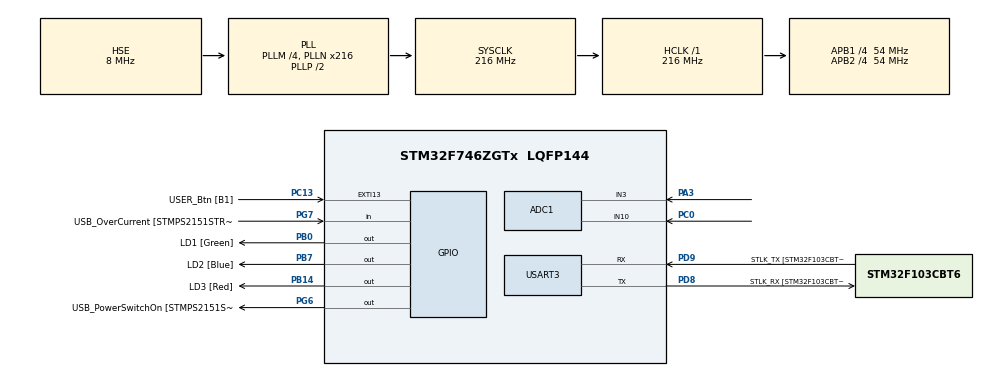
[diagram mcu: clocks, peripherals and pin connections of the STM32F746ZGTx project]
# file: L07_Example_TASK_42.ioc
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ADC1.Channel-0\#ChannelRegularConversion=ADC_CHANNEL_3
ADC1.Channel-1\#ChannelRegularConversion=ADC_CHANNEL_10
ADC1.DiscontinuousConvMode=DISABLE
ADC1.NbrOfConversion=2
ADC1.NbrOfConversionFlag=1
ADC1.Rank-0\#ChannelRegularConversion=1
ADC1.Rank-1\#ChannelRegularConversion=2
ADC1.SamplingTime-0\#ChannelRegularConversion=ADC_SAMPLETIME_480CYCLES
ADC1.SamplingTime-1\#ChannelRegularConversion=ADC_SAMPLETIME_480CYCLES
ADC1.master=1
Mcu.Family=STM32F7
Mcu.Name=STM32F746ZGTx
Mcu.Package=LQFP144
NVIC.ADC_IRQn=true\:0\:0\:false\:false\:true\:true\:true\:true
NVIC.PriorityGroup=NVIC_PRIORITYGROUP_4
PA1.GPIO_Label=RMII_REF_CLK [LAN8742A-CZ-TR_REFCLK0]
PA1.Signal=ETH_REF_CLK
PA10.GPIO_Label=USB_ID
PA10.Signal=USB_OTG_FS_ID
PA11.GPIO_Label=USB_DM
PA11.Signal=USB_OTG_FS_DM
PA12.GPIO_Label=USB_DP
PA12.Signal=USB_OTG_FS_DP
PA13.GPIO_Label=TMS
PA13.Mode=Serial_Wire
PA13.Signal=SYS_JTMS-SWDIO
PA14.GPIO_Label=TCK
PA14.Mode=Serial_Wire
PA14.Signal=SYS_JTCK-SWCLK
PA2.GPIO_Label=RMII_MDIO [LAN8742A-CZ-TR_MDIO]
PA2.Signal=ETH_MDIO
PA3.Signal=ADCx_IN3
PA7.GPIO_Label=RMII_CRS_DV [LAN8742A-CZ-TR_CRS_DV]
PA7.Signal=ETH_CRS_DV
PA8.GPIO_Label=USB_SOF [TP1]
PA8.Signal=USB_OTG_FS_SOF
PA9.GPIO_Label=USB_VBUS
PA9.Signal=USB_OTG_FS_VBUS
PB0.GPIO_Label=LD1 [Green]
PB0.Signal=GPIO_Output
PB13.GPIO_Label=RMII_TXD1 [LAN8742A-CZ-TR_TXD1]
PB13.Signal=ETH_TXD1
PB14.GPIO_Label=LD3 [Red]
PB14.Signal=GPIO_Output
PB3.GPIO_Label=SW0
PB3.Signal=SYS_JTDO-SWO
PB7.GPIO_Label=LD2 [Blue]
PB7.Signal=GPIO_Output
PC0.Signal=ADCx_IN10
PC1.GPIO_Label=RMII_MDC [LAN8742A-CZ-TR_MDC]
PC1.Signal=ETH_MDC
PC13.GPIO_Label=USER_Btn [B1]
PC13.Signal=GPXTI13
PC14/OSC32_IN.Mode=LSE-External-Oscillator
PC14/OSC32_IN.Signal=RCC_OSC32_IN
PC15/OSC32_OUT.Mode=LSE-External-Oscillator
PC15/OSC32_OUT.Signal=RCC_OSC32_OUT
PC4.GPIO_Label=RMII_RXD0 [LAN8742A-CZ-TR_RXD0]
PC4.Signal=ETH_RXD0
PC5.GPIO_Label=RMII_RXD1 [LAN8742A-CZ-TR_RXD1]
PC5.Signal=ETH_RXD1
PD8.GPIO_Label=STLK_RX [STM32F103CBT6_PA3]
PD8.GPIO_PuPd=GPIO_PULLUP
PD8.Mode=Asynchronous
PD8.Signal=USART3_TX
PD9.GPIO_Label=STLK_TX [STM32F103CBT6_PA2]
PD9.GPIO_PuPd=GPIO_PULLUP
PD9.Mode=Asynchronous
PD9.Signal=USART3_RX
PG11.GPIO_Label=RMII_TX_EN [LAN8742A-CZ-TR_TXEN]
PG11.Signal=ETH_TX_EN
PG13.GPIO_Label=RMII_TXD0 [LAN8742A-CZ-TR_TXD0]
PG13.Signal=ETH_TXD0
PG6.GPIO_Label=USB_PowerSwitchOn [STMPS2151STR_EN]
PG6.Signal=GPIO_Output
PG7.GPIO_Label=USB_OverCurrent [STMPS2151STR_FAULT]
PG7.Signal=GPIO_Input
PH0/OSC_IN.GPIO_Label=MCO [STM32F103CBT6_PA8]
PH0/OSC_IN.Mode=HSE-External-Clock-Source
PH0/OSC_IN.Signal=RCC_OSC_IN
PH1/OSC_OUT.Mode=HSE-External-Clock-Source
PH1/OSC_OUT.Signal=RCC_OSC_OUT
ProjectManager.HeapSize=0x200
ProjectManager.StackSize=0x400
ProjectManager.TargetToolchain=STM32CubeIDE
RCC.48MHZClocksFreq_Value=24000000
RCC.AHBFreq_Value=216000000
RCC.APB1CLKDivider=RCC_HCLK_DIV4
RCC.APB1Freq_Value=54000000
RCC.APB1TimFreq_Value=108000000
RCC.APB2CLKDivider=RCC_HCLK_DIV4
RCC.APB2Freq_Value=54000000
RCC.APB2TimFreq_Value=108000000
RCC.CortexFreq_Value=216000000
RCC.HCLKFreq_Value=216000000
RCC.HSE_VALUE=8000000
RCC.HSI_VALUE=16000000
RCC.PLLM=4
RCC.PLLMUL=RCC_PLL_MUL9
RCC.PLLN=216
RCC.PLLQ=3
RCC.PLLSourceVirtual=RCC_PLLSOURCE_HSE
RCC.PRESCALERUSB=RCC_USBCLKSOURCE_PLL_DIV1_5
RCC.SYSCLKFreq_VALUE=216000000
RCC.SYSCLKSource=RCC_SYSCLKSOURCE_PLLCLK
RCC.SYSCLKSourceVirtual=RCC_SYSCLKSOURCE_PLLCLK
RCC.USBFreq_Value=144000000
RCC.VCOOutputFreq_Value=432000000
SH.ADCx_IN10.0=ADC1_IN10,IN10
SH.ADCx_IN3.0=ADC1_IN3,IN3
USART3.VirtualMode-Asynchronous=VM_ASYNC
board=NUCLEO-F746ZG

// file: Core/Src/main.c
/* USER CODE BEGIN Header */
/**
  ******************************************************************************
  * @file           : main.c
  * @brief          : Main program body
  ******************************************************************************
  * @attention
  *
  * Copyright (c) 2024 STMicroelectronics.
  * All rights reserved.
  *
  * This software is licensed under terms that can be found in the LICENSE file
  * in the root directory of this software component.
  * If no LICENSE file comes with this software, it is provided AS-IS.
  *
  ******************************************************************************
  */
#define TASK 5
/* USER CODE END Header */
#include "main.h"
#include "adc.h"
#include "usart.h"
#include "gpio.h"

/* USER CODE BEGIN Includes */
#if TASK == 1
#include "aio.h"
#endif
#if TASK == 2
#include "aio.h"
#include "led_config.h"
#endif
#if TASK == 3
#include <stdio.h>
#include "aio.h"
#include "btn_config.h"
#endif
#if TASK == 41
#include "aio.h"
#endif
#if TASK == 42
#include "aio.h"
#endif
#if TASK == 43
#include "aio.h"
#endif
#if TASK == 5
#include "ntc_config.h"
#include "ldr_config.h"
#endif
/* USER CODE END Includes */

/* USER CODE BEGIN PV */
#if TASK == 1
unsigned int pot1_mV;
#endif
#if TASK == 2
unsigned int pot1_mV;
#endif
#if TASK == 3
unsigned int pot1_mV;
#endif
#if TASK == 41
unsigned int pot1_mV, pot2_mV;
#endif
#if TASK == 42
unsigned int pot1_mV, pot2_mV;
#endif
#if TASK == 43
unsigned int pot1_mV, pot2_mV;
uint16_t adc1_conv_buffer[ADC1_NUMBER_OF_CONV];
#endif
#if TASK == 5
unsigned int sen1_mV;

float sen1_temp_sh;
float sen1_temp_beta;

float sen1_light_gamma;

#endif
/* USER CODE END PV */

void SystemClock_Config(void);

/* USER CODE BEGIN 0 */
#if TASK == 3
int _write(int file, char *ptr, int len)
{
  return (HAL_UART_Transmit(&huart3, (uint8_t*)ptr, len, HAL_MAX_DELAY) == HAL_OK) ? len : -1;
}
#endif
#if TASK == 42
/**
  * @brief  Regular conversion complete callback in non blocking mode
  * @param  hadc pointer to a ADC_HandleTypeDef structure that contains
  *         the configuration information for the specified ADC.
  * @retval None
  */
void HAL_ADC_ConvCpltCallback(ADC_HandleTypeDef* hadc)
{
  if(hadc == &hadc1)
  {
    if(hadc1.NbrOfCurrentConversionRank == 1)
      pot1_mV = ADC_REG2VOLTAGE(HAL_ADC_GetValue(&hadc1));

    else if(hadc1.NbrOfCurrentConversionRank == 2)
      pot2_mV = ADC_REG2VOLTAGE(HAL_ADC_GetValue(&hadc1));

    hadc1.NbrOfCurrentConversionRank = 1 + (hadc1.NbrOfCurrentConversionRank % ADC1_NUMBER_OF_CONV);
  }
}
#endif
#if TASK == 43
/**
  * @brief  Regular conversion complete callback in non blocking mode
  * @param  hadc pointer to a ADC_HandleTypeDef structure that contains
  *         the configuration information for the specified ADC.
  * @retval None
  */
void HAL_ADC_ConvCpltCallback(ADC_HandleTypeDef* hadc)
{
  if(hadc == &hadc1)
  {
    pot1_mV = ADC_REG2VOLTAGE(adc1_conv_buffer[0]);
    pot2_mV = ADC_REG2VOLTAGE(adc1_conv_buffer[1]);
  }
}
#endif
/* USER CODE END 0 */

int main(void)
{

  /* MCU Configuration--------------------------------------------------------*/

  /* Reset of all peripherals, Initializes the Flash interface and the Systick. */
  HAL_Init();

  /* Configure the system clock */
  SystemClock_Config();

  /* Initialize all configured peripherals */
  MX_GPIO_Init();
  MX_USART3_UART_Init();
  MX_ADC1_Init();
  /* USER CODE BEGIN 2 */
  #if TASK == 42
  hadc1.NbrOfCurrentConversionRank = 1;
  #endif
  /* USER CODE END 2 */

  /* Infinite loop */
  /* USER CODE BEGIN WHILE */
  while (1)
  {
    #if TASK == 1
    HAL_ADC_Start(&hadc1);
    if(HAL_ADC_PollForConversion(&hadc1, ADC1_TIMEOUT) == HAL_OK)
      pot1_mV = ADC_REG2VOLTAGE(HAL_ADC_GetValue(&hadc1));
    HAL_Delay(10);
    #endif
    #if TASK == 2
    HAL_ADC_Start(&hadc1);
    if(HAL_ADC_PollForConversion(&hadc1, ADC1_TIMEOUT) == HAL_OK)
    {
      pot1_mV = ADC_REG2VOLTAGE(HAL_ADC_GetValue(&hadc1));
      LED_Line_WriteValue(pot1_mV / 1000);
    }
    HAL_Delay(10);
    #endif
    #if TASK == 3
    if(BTN_DIO_EdgeDetected(&husrbtn) == BTN_PRESSED_EDGE)
    {
      HAL_ADC_Start(&hadc1);
      if(HAL_ADC_PollForConversion(&hadc1, ADC1_TIMEOUT) == HAL_OK)
      {
        pot1_mV = ADC_REG2VOLTAGE(HAL_ADC_GetValue(&hadc1));
        printf("{\"id\":\"POT1\",\"voltage\":%4d }\r\n", pot1_mV);
      }
    }
    HAL_Delay(10);
    #endif
    #if TASK == 41

    HAL_ADC_Start(&hadc1);
    if(HAL_ADC_PollForConversion(&hadc1, ADC1_TIMEOUT) == HAL_OK)
      pot1_mV = ADC_REG2VOLTAGE(HAL_ADC_GetValue(&hadc1));

    HAL_ADC_Start(&hadc1);
    if(HAL_ADC_PollForConversion(&hadc1, ADC1_TIMEOUT) == HAL_OK)
      pot2_mV = ADC_REG2VOLTAGE(HAL_ADC_GetValue(&hadc1));

    HAL_Delay(10);
    #endif
    #if TASK == 42
    HAL_ADC_Start_IT(&hadc1);
    HAL_Delay(10);
    #endif
    #if TASK == 43
    HAL_ADC_Start_DMA(&hadc1, (uint32_t*)adc1_conv_buffer, ADC1_NUMBER_OF_CONV);
    HAL_Delay(10);
    #endif
    #if TASK == 5
    HAL_ADC_Start(&hadc1);
    if(HAL_ADC_PollForConversion(&hadc1, ADC1_TIMEOUT) == HAL_OK)
    {
      sen1_mV = ADC_REG2VOLTAGE(HAL_ADC_GetValue(&hadc1));

      // If NTC
      sen1_temp_sh = NTC_SteinhartHart_ReadTemperature_degC(&hntc1_sh, sen1_mV);
      sen1_temp_beta = NTC_Beta_ReadTemperature_degC(&hntc1_beta, sen1_mV);

      // If LDR
      sen1_light_gamma = LDR_Gamma_ReadIlluminance_lx(&hldr1_gamma, sen1_mV);
    }
    HAL_Delay(10);
    #endif
    /* USER CODE END WHILE */

  }
}

void SystemClock_Config(void)
{
  RCC_OscInitTypeDef RCC_OscInitStruct = {0};
  RCC_ClkInitTypeDef RCC_ClkInitStruct = {0};

  /** Configure LSE Drive Capability
  */
  HAL_PWR_EnableBkUpAccess();

  /** Configure the main internal regulator output voltage
  */
  __HAL_RCC_PWR_CLK_ENABLE();
  __HAL_PWR_VOLTAGESCALING_CONFIG(PWR_REGULATOR_VOLTAGE_SCALE1);

  /** Initializes the RCC Oscillators according to the specified parameters
  * in the RCC_OscInitTypeDef structure.
  */
  RCC_OscInitStruct.OscillatorType = RCC_OSCILLATORTYPE_HSE;
  RCC_OscInitStruct.HSEState = RCC_HSE_BYPASS;
  RCC_OscInitStruct.PLL.PLLState = RCC_PLL_ON;
  RCC_OscInitStruct.PLL.PLLSource = RCC_PLLSOURCE_HSE;
  RCC_OscInitStruct.PLL.PLLM = 4;
  RCC_OscInitStruct.PLL.PLLN = 216;
  RCC_OscInitStruct.PLL.PLLP = RCC_PLLP_DIV2;
  RCC_OscInitStruct.PLL.PLLQ = 3;
  if (HAL_RCC_OscConfig(&RCC_OscInitStruct) != HAL_OK)
  {
    Error_Handler();
  }

  /** Activate the Over-Drive mode
  */
  if (HAL_PWREx_EnableOverDrive() != HAL_OK)
  {
    Error_Handler();
  }

  /** Initializes the CPU, AHB and APB buses clocks
  */
  RCC_ClkInitStruct.ClockType = RCC_CLOCKTYPE_HCLK|RCC_CLOCKTYPE_SYSCLK
                              |RCC_CLOCKTYPE_PCLK1|RCC_CLOCKTYPE_PCLK2;
  RCC_ClkInitStruct.SYSCLKSource = RCC_SYSCLKSOURCE_PLLCLK;
  RCC_ClkInitStruct.AHBCLKDivider = RCC_SYSCLK_DIV1;
  RCC_ClkInitStruct.APB1CLKDivider = RCC_HCLK_DIV4;
  RCC_ClkInitStruct.APB2CLKDivider = RCC_HCLK_DIV4;

  if (HAL_RCC_ClockConfig(&RCC_ClkInitStruct, FLASH_LATENCY_7) != HAL_OK)
  {
    Error_Handler();
  }
}

void Error_Handler(void)
{
  __disable_irq();
  while (1)
  {
  }
}
